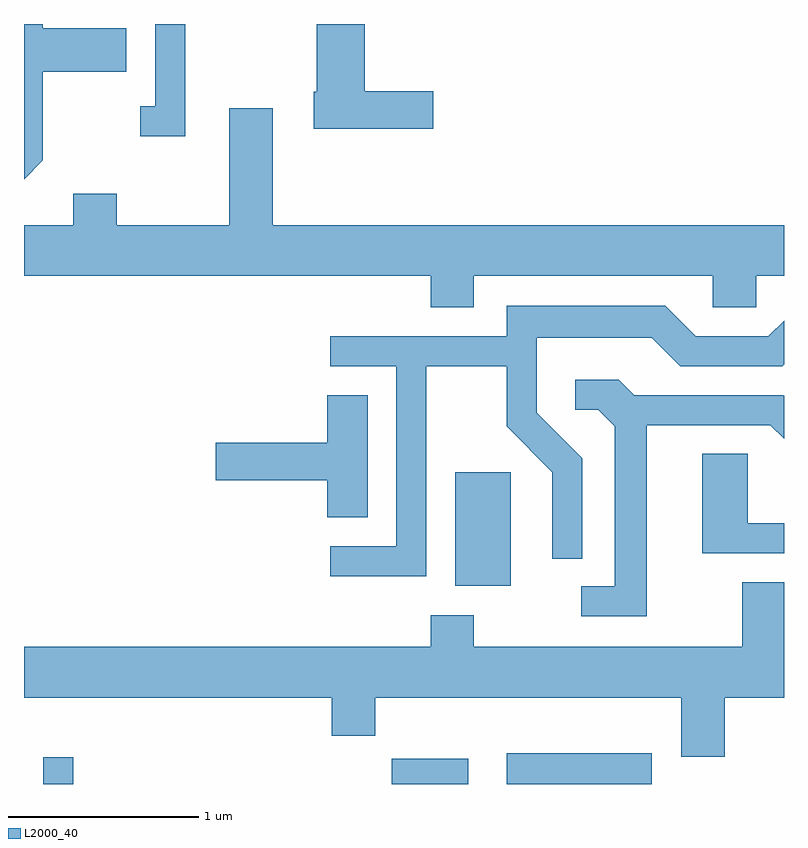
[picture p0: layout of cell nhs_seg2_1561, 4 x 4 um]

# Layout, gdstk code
import gdstk
lib = gdstk.Library(unit=1e-6, precision=1e-09)
def R(c, l, rs):  # rectangles x0, y0, x1, y1
    for r in rs: c.add(gdstk.rectangle(r[:2], r[2:], *l))
def P(c, l, *ps):  # polygons
    for p in ps: c.add(gdstk.Polygon(p, *l))
L2000_40 = (2000, 40)

nhs_seg2_1561 = lib.new_cell('nhs_seg2_1561')
R(nhs_seg2_1561, L2000_40, [(229.711,1107.802,229.869,1107.943), (231.546,1107.802,231.949,1107.934), (232.151,1107.802,232.914,1107.964), (231.881,1108.846,232.174,1109.444)])
P(nhs_seg2_1561, L2000_40, [(231.764,1111.449),(231.404,1111.449),(231.404,1111.802),(231.151,1111.802),(231.151,1111.445),(231.136,1111.445),(231.136,1111.251),(231.764,1111.251)],
  [(230.459,1111.802),(230.301,1111.802),(230.301,1111.369),(230.223,1111.369),(230.223,1111.211),(230.459,1111.211)],
  [(229.709,1111.084),(229.709,1111.551),(230.149,1111.551),(230.149,1111.779),(229.709,1111.779),(229.709,1111.802),(229.611,1111.802),(229.611,1110.985)],
  [(231.979,1110.476),(233.236,1110.476),(233.236,1110.311),(233.464,1110.311),(233.464,1110.476),(233.611,1110.476),(233.611,1110.744),(230.919,1110.744),(230.919,1111.359),(230.691,1111.359),(230.691,1110.744),(230.099,1110.744),(230.099,1110.909),(229.871,1110.909),(229.871,1110.744),(229.611,1110.744),(229.611,1110.476),(231.751,1110.476),(231.751,1110.311),(231.979,1110.311)],
  [(231.729,1110.001),(232.151,1110.001),(232.151,1109.684),(232.391,1109.444),(232.391,1108.988),(232.549,1108.988),(232.549,1109.517),(232.309,1109.757),(232.309,1110.151),(232.914,1110.151),(233.064,1110.001),(233.602,1110.001),(233.611,1110.01),(233.611,1110.241),(233.529,1110.159),(233.147,1110.159),(232.987,1110.319),(232.151,1110.319),(232.151,1110.159),(231.223,1110.159),(231.223,1110.001),(231.571,1110.001),(231.571,1109.054),(231.223,1109.054),(231.223,1108.896),(231.729,1108.896)],
  [(232.889,1109.691),(233.539,1109.691),(233.611,1109.619),(233.611,1109.845),(233.607,1109.849),(232.822,1109.849),(232.742,1109.929),(232.513,1109.929),(232.513,1109.771),(232.634,1109.771),(232.721,1109.684),(232.721,1108.844),(232.543,1108.844),(232.543,1108.686),(232.889,1108.686)],
  [(231.419,1109.849),(231.206,1109.849),(231.206,1109.599),(230.621,1109.599),(230.621,1109.401),(231.206,1109.401),(231.206,1109.206),(231.419,1109.206)],
  [(233.611,1109.174),(233.419,1109.174),(233.419,1109.539),(233.181,1109.539),(233.181,1109.016),(233.611,1109.016)],
  [(233.299,1108.256),(233.611,1108.256),(233.611,1108.864),(233.391,1108.864),(233.391,1108.524),(231.979,1108.524),(231.979,1108.689),(231.751,1108.689),(231.751,1108.524),(229.611,1108.524),(229.611,1108.256),(231.231,1108.256),(231.231,1108.056),(231.459,1108.056),(231.459,1108.256),(233.071,1108.256),(233.071,1107.946),(233.299,1107.946)])

lib.write_gds('nhs_seg2_1561.gds')
